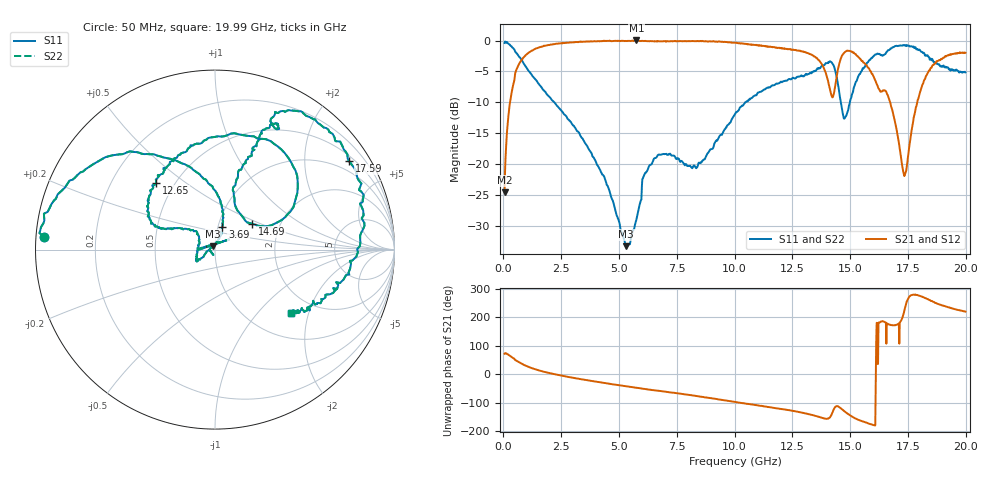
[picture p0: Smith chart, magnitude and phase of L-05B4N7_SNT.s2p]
! Data Taken on a HP 8720C VNA using a shunt-through fixture with TRL* de-embedding
#	mhz	s	ma	r	50
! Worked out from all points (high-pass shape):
!   998 points, 50 MHz to 19.99 GHz, reference 50 ohm
!   highest |S21| = 0.01 dB at 5.75 GHz (marker M1); lowest = -24.5 dB at 50 MHz (marker M2)
!   |S21| within 3 dB of the highest: 819.6 MHz to 13.59 GHz (12.77 GHz wide, 177 % of centre); 18.98 GHz to end of sweep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
!   lowest |S11| = -33.3 dB at 5.31 GHz (marker M3), VSWR 1.04, Z = 49 + j1.88 ohm
!   |S11| at or under -10 dB: 2.206 GHz to 10.46 GHz (8.255 GHz wide, 130 % of centre); 14.6 GHz to 14.99 GHz (392.9 MHz wide, 2.66 % of centre)
!   |S22| runs from -33.3 to -0.2 dB; largest |S21 - S12| = 0
!   S11 on the Smith chart (normalised r, x): 50 MHz: 0.02, +0.04; 3.69 GHz: 1.05, +0.27; 12.65 GHz: 0.40, +0.39; 14.69 GHz: 1.45, +0.44; 17.59 GHz: 0.65, +3.21; 19.99 GHz: 1.52, -1.56
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50  0.9555 175.6  0.05945 72.0  0.05945 72.0  0.9555 175.6
290  0.9164 159.1  0.3217 64.0  0.3217 64.0  0.9164 159.1
710  0.7294 131.8  0.6623 40.6  0.6623 40.6  0.7294 131.8
3390  0.1633 73.9  0.9765 -17.8  0.9765 -17.8  0.1633 73.9
3690  0.1324 71.9  0.982 -21.8  0.982 -21.8  0.1324 71.9
5310  0.02175 118.0  0.9909 -42.2  0.9909 -42.2  0.02175 118.0
5750  0.03546 -174.6  1.002 -47.5  1.002 -47.5  0.03546 -174.6
6710  0.1195 -147.0  0.9874 -58.1  0.9874 -58.1  0.1195 -147.0
8350  0.09292 159.2  0.9897 -76.3  0.9897 -76.3  0.09292 159.2
10030  0.2559 151.9  0.9597 -97.2  0.9597 -97.2  0.2559 151.9
12650  0.4966 131.3  0.84 -130.3  0.84 -130.3  0.4966 131.3
13350  0.557 114.0  0.7675 -142.9  0.7675 -142.9  0.557 114.0
14310  0.6146 41.8  0.3816 -120.6  0.3816 -120.6  0.6146 41.8
14690  0.2532 34.5  0.7742 -125.7  0.7742 -125.7  0.2532 34.5
15250  0.4641 73.2  0.7744 -156.0  0.7744 -156.0  0.4641 73.2
16010  0.745 65.9  0.5128 -178.5  0.5128 -178.5  0.745 65.9
16190  0.7841 63.6  0.4301 35.9  0.4301 35.9  0.7841 63.6
16670  0.8367 65.8  0.3434 175.0  0.3434 175.0  0.8367 65.8
17330  0.9135 45.8  0.08231 -143.4  0.08231 -143.4  0.9135 45.8
17590  0.8945 33.5  0.1506 -86.0  0.1506 -86.0  0.8945 33.5
18570  0.7011 -20.1  0.6307 -104.6  0.6307 -104.6  0.7011 -20.1
19990  0.5539 -39.7  0.7966 -140.2  0.7966 -140.2  0.5539 -39.7
